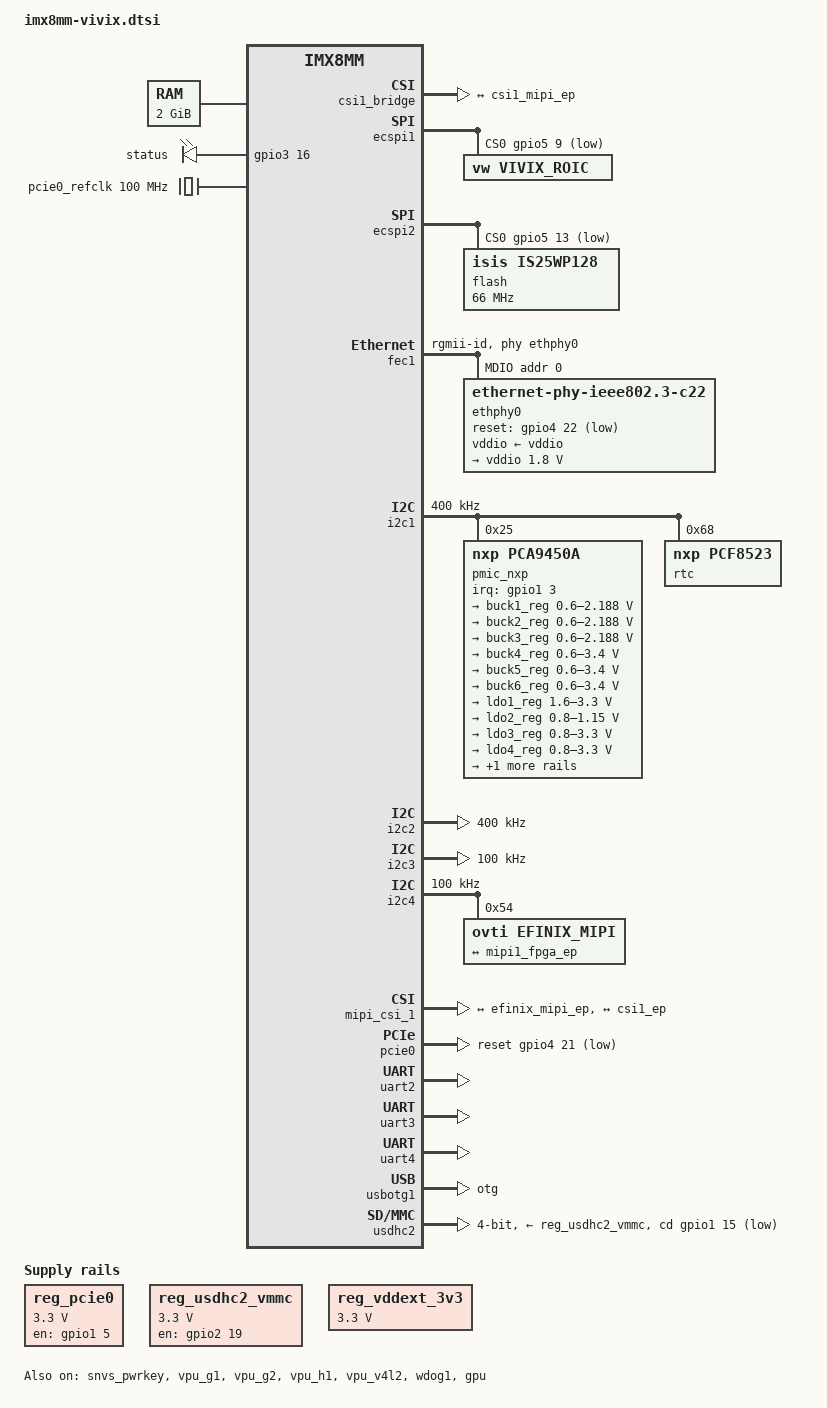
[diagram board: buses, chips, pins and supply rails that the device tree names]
// SPDX-License-Identifier: (GPL-2.0+ OR MIT)
/*
 * Copyright 2020 NXP
 */

/dts-v1/;

#include <dt-bindings/phy/phy-imx8-pcie.h>
#include <dt-bindings/usb/pd.h>
#include "imx8mm.dtsi"

/ {
	chosen {
		stdout-path = &uart2;
		//stdout-path = &uart4;
	};

	memory@40000000 {
		device_type = "memory";
		reg = <0x0 0x40000000 0 0x80000000>;
	};

	leds {
		compatible = "gpio-leds";
		pinctrl-names = "default";
		pinctrl-0 = <&pinctrl_gpio_led>;

		status {
			label = "status";
			gpios = <&gpio3 16 GPIO_ACTIVE_HIGH>;
			default-state = "on";
		};
	};

	pcie0_refclk: pcie0-refclk {
		compatible = "fixed-clock";
		#clock-cells = <0>;
		clock-frequency = <100000000>;
	};
	
	reg_pcie0: regulator-pcie {
		compatible = "regulator-fixed";
		pinctrl-names = "default";
		pinctrl-0 = <&pinctrl_pcie0_reg>;
		regulator-name = "MPCIE_3V3";
		regulator-min-microvolt = <3300000>;
		regulator-max-microvolt = <3300000>;
		gpio = <&gpio1 5 GPIO_ACTIVE_HIGH>;
		enable-active-high;
	};

	reg_usdhc2_vmmc: regulator-usdhc2 {
		compatible = "regulator-fixed";
		pinctrl-names = "default";
		pinctrl-0 = <&pinctrl_reg_usdhc2_vmmc>;
		regulator-name = "VSD_3V3";
		regulator-min-microvolt = <3300000>;
		regulator-max-microvolt = <3300000>;
		gpio = <&gpio2 19 GPIO_ACTIVE_HIGH>;
		off-on-delay-us = <20000>;
		enable-active-high;
	};

	reg_vddext_3v3: regulator-vddext-3v3 {
		compatible = "regulator-fixed";
		regulator-name = "VDDEXT_3V3";
		regulator-min-microvolt = <3300000>;
		regulator-max-microvolt = <3300000>;
	};
};

&A53_0 {
	cpu-supply = <&buck2_reg>;
};

&A53_1 {
	cpu-supply = <&buck2_reg>;
};

&A53_2 {
	cpu-supply = <&buck2_reg>;
};

&A53_3 {
	cpu-supply = <&buck2_reg>;
};

&csi1_bridge {
	fsl,mipi-mode;
	status = "okay";
	port {
		csi1_ep: endpoint {
			remote-endpoint = <&csi1_mipi_ep>;
		};
	};
};

&ecspi1 {
	fsl,spi-num-chipselects = <1>;
    pinctrl-names = "default";
    pinctrl-0 = <&pinctrl_ecspi1>;
    cs-gpios = <&gpio5 9 GPIO_ACTIVE_LOW>;
    status = "okay";

	vivix_roic {
		reg = <0>;
		compatible = "vw,vivix_roic";
	};
};

&ecspi2 {
	#address-cells = <1>;
	#size-cells = <0>;
	fsl,spi-num-chipselects = <1>;
	pinctrl-names = "default";
	pinctrl-0 = <&pinctrl_ecspi2 &pinctrl_ecspi2_cs>;
	cs-gpios = <&gpio5 13 GPIO_ACTIVE_LOW>;
	status = "okay";

	flash@0 {
		#address-cells = <1>;
		#size-cells = <1>;
		compatible = "isis,is25wp128", "jedec,spi-nor";
		reg = <0>;
		spi-max-frequency = <66000000>;
	};
};

&fec1 {
	pinctrl-names = "default";
	pinctrl-0 = <&pinctrl_fec1>;
	phy-mode = "rgmii-id";
	phy-handle = <&ethphy0>;
	fsl,magic-packet;
	status = "okay";

	mdio {
		#address-cells = <1>;
		#size-cells = <0>;

		ethphy0: ethernet-phy@0 {
			compatible = "ethernet-phy-ieee802.3-c22";
			reg = <0>;
			reset-gpios = <&gpio4 22 GPIO_ACTIVE_LOW>;
			reset-assert-us = <10000>;
			reset-deassert-us = <80000>;
			realtek,aldps-enable;
			realtek,clkout-disable;
			qca,disable-smarteee;
			vddio-supply = <&vddio>;

			vddio: vddio-regulator {
				regulator-min-microvolt = <1800000>;
				regulator-max-microvolt = <1800000>;
			};
		};
	};
};

&i2c1 {
	clock-frequency = <400000>;
	pinctrl-names = "default";
	pinctrl-0 = <&pinctrl_i2c1>;
	status = "okay";

	pmic_nxp: pca9450@25 {
		compatible = "nxp,pca9450a";
		reg = <0x25>;
		pinctrl-0 = <&pinctrl_pmic>;
		pinctrl-names = "default";
		interrupt-parent = <&gpio1>;
		interrupts = <3 IRQ_TYPE_LEVEL_LOW>;

		regulators {
			buck1_reg: BUCK1 {
				regulator-name = "BUCK1";
				regulator-min-microvolt = <600000>;
				regulator-max-microvolt = <2187500>;
				regulator-boot-on;
				regulator-always-on;
				regulator-ramp-delay = <3125>;
				nxp,dvs-run-voltage = <850000>;
				nxp,dvs-standby-voltage = <800000>;
			};

			buck2_reg: BUCK2 {
				regulator-name = "BUCK2";
				regulator-min-microvolt = <600000>;
				regulator-max-microvolt = <2187500>;
				regulator-boot-on;
				regulator-always-on;
				regulator-ramp-delay = <3125>;
			};

			buck3_reg: BUCK3 {
				regulator-name = "BUCK3";
				regulator-min-microvolt = <600000>;
				regulator-max-microvolt = <2187500>;
				regulator-boot-on;
				regulator-always-on;
			};

			buck4_reg: BUCK4 {
				regulator-name = "BUCK4";
				regulator-min-microvolt = <600000>;
				regulator-max-microvolt = <3400000>;
				regulator-boot-on;
				regulator-always-on;
			};

			buck5_reg: BUCK5 {
				regulator-name = "BUCK5";
				regulator-min-microvolt = <600000>;
				regulator-max-microvolt = <3400000>;
				regulator-boot-on;
				regulator-always-on;
			};

			buck6_reg: BUCK6 {
				regulator-name = "BUCK6";
				regulator-min-microvolt = <600000>;
				regulator-max-microvolt = <3400000>;
				regulator-boot-on;
				regulator-always-on;
			};

			ldo1_reg: LDO1 {
				regulator-name = "LDO1";
				regulator-min-microvolt = <1600000>;
				regulator-max-microvolt = <3300000>;
				regulator-boot-on;
				regulator-always-on;
			};

			ldo2_reg: LDO2 {
				regulator-name = "LDO2";
				regulator-min-microvolt = <800000>;
				regulator-max-microvolt = <1150000>;
				regulator-boot-on;
				regulator-always-on;
			};

			ldo3_reg: LDO3 {
				regulator-name = "LDO3";
				regulator-min-microvolt = <800000>;
				regulator-max-microvolt = <3300000>;
				regulator-boot-on;
				regulator-always-on;
			};

			ldo4_reg: LDO4 {
				regulator-name = "LDO4";
				regulator-min-microvolt = <800000>;
				regulator-max-microvolt = <3300000>;
				regulator-boot-on;
				regulator-always-on;
			};

			ldo5_reg: LDO5 {
				regulator-name = "LDO5";
				regulator-min-microvolt = <1800000>;
				regulator-max-microvolt = <3300000>;
			};
		};
	};

	rtc: rtc@68 {
		compatible = "nxp,pcf8523";
		reg = <0x68>;
	};
};

&i2c2 {
	clock-frequency = <400000>;
	pinctrl-names = "default";
	pinctrl-0 = <&pinctrl_i2c2>;
	status = "okay";
/*	
	ptn5110: tcpc@50 {
		compatible = "nxp,ptn5110";
		pinctrl-names = "default";
		pinctrl-0 = <&pinctrl_typec1>;
		reg = <0x50>;
		interrupt-parent = <&gpio2>;
		interrupts = <11 8>;
		status = "okay";

		port {
			typec1_dr_sw: endpoint {
				remote-endpoint = <&usb1_drd_sw>;
			};
		};

		typec1_con: connector {
			compatible = "usb-c-connector";
			label = "USB-C";
			power-role = "dual";
			data-role = "dual";
			try-power-role = "sink";
			source-pdos = <PDO_FIXED(5000, 3000, PDO_FIXED_USB_COMM)>;
			sink-pdos = <PDO_FIXED(5000, 3000, PDO_FIXED_USB_COMM)
				     PDO_VAR(5000, 20000, 3000)>;
			op-sink-microwatt = <15000000>;
			self-powered;
		};
	};
	*/
};

&i2c3 {
	clock-frequency = <100000>;
	pinctrl-names = "default";
	pinctrl-0 = <&pinctrl_i2c3>;
	status = "okay";
};

&i2c4 {
	clock-frequency = <100000>;
	pinctrl-names = "default";
	pinctrl-0 = <&pinctrl_i2c4>;
	status = "okay";

	efinix_mipi: efinix_mipi@54 {
				 compatible = "ovti,efinix_mipi";
				 reg = <0x54>;
				 status = "okay";
				 port {
					efinix_mipi_ep: endpoint {
					remote-endpoint = <&mipi1_fpga_ep>;
				};
				 };
			 };
};

&mipi_csi_1 {
	status = "okay";
	clock-frequency = <1200000000>;
	port {
		#address-cells = <1>;
		#size-cells = <0>;

		mipi1_fpga_ep: endpoint@1 {
			remote-endpoint = <&efinix_mipi_ep>;
			data-lanes = <4>;
			csis-hs-settle = <26>;
			csis-clk-settle = <2>;
			csis-wclk;
		};
		
		csi1_mipi_ep: endpoint@2 {
			reg = <2>;
			remote-endpoint = <&csi1_ep>;
		};
	};
};

&pcie0{
	pinctrl-names = "default";
	pinctrl-0 = <&pinctrl_pcie0>;
	reset-gpio = <&gpio4 21 GPIO_ACTIVE_LOW>;
	clocks = <&clk IMX8MM_CLK_PCIE1_ROOT>, <&pcie0_refclk>,
		   <&clk IMX8MM_CLK_PCIE1_AUX>;
	assigned-clocks = <&clk IMX8MM_CLK_PCIE1_AUX>,
		<&clk IMX8MM_CLK_PCIE1_CTRL>;
	assigned-clock-rates = <10000000>, <250000000>;
	assigned-clock-parents = <&clk IMX8MM_SYS_PLL2_50M>,
		<&clk IMX8MM_SYS_PLL2_250M>;
	vpcie-supply = <&reg_pcie0>;
	status = "okay";
};

&snvs_pwrkey {
	status = "okay";
};

&uart2 { /* console */
	pinctrl-names = "default";
	pinctrl-0 = <&pinctrl_uart2>;
	status = "okay";
};

&uart3 {
    pinctrl-names = "default";
    pinctrl-0 = <&pinctrl_uart3>;
    status = "okay";
};

&uart4 { 
	pinctrl-names = "default";
	pinctrl-0 = <&pinctrl_uart4>;
	status = "okay";
};

&usbphynop1 {
	wakeup-source;
};

&usbotg1 {
	dr_mode = "otg";
	hnp-disable;
	srp-disable;
	adp-disable;
	usb-role-switch;
	disable-over-current;
	samsung,picophy-pre-emp-curr-control = <3>;
	samsung,picophy-dc-vol-level-adjust = <7>;
	status = "okay";
/*
	port {
		usb1_drd_sw: endpoint {
			remote-endpoint = <&typec1_dr_sw>;
		};
	};
	*/
};

&usdhc2 {
	assigned-clocks = <&clk IMX8MM_CLK_USDHC2>;
	assigned-clock-rates = <200000000>;
	pinctrl-names = "default", "state_100mhz", "state_200mhz";
	pinctrl-0 = <&pinctrl_usdhc2>, <&pinctrl_usdhc2_gpio>;
	pinctrl-1 = <&pinctrl_usdhc2_100mhz>, <&pinctrl_usdhc2_gpio>;
	pinctrl-2 = <&pinctrl_usdhc2_200mhz>, <&pinctrl_usdhc2_gpio>;
	cd-gpios = <&gpio1 15 GPIO_ACTIVE_LOW>;
	bus-width = <4>;
	vmmc-supply = <&reg_usdhc2_vmmc>;
	status = "okay";
};

&vpu_g1 {
	status = "okay";
};

&vpu_g2 {
	status = "okay";
};

&vpu_h1 {
	status = "okay";
};

&vpu_v4l2 {
	status = "okay";
};

&wdog1 {
	pinctrl-names = "default";
	pinctrl-0 = <&pinctrl_wdog>;
	fsl,ext-reset-output;
	status = "okay";
};

&gpu {
	status = "okay";
};

&iomuxc {
	pinctrl-names = "default";
    pinctrl-0 = <&pinctrl_gpio_vol>;

	pinctrl_csi_pwn: csi_pwn_grp {
		fsl,pins = <
			MX8MM_IOMUXC_GPIO1_IO07_GPIO1_IO7		0x19
		>;
	};

	pinctrl_csi_rst: csi_rst_grp {
		fsl,pins = <
			MX8MM_IOMUXC_GPIO1_IO06_GPIO1_IO6		0x19
			MX8MM_IOMUXC_GPIO1_IO14_CCMSRCGPCMIX_CLKO1	0x59
		>;
	};
	
	pinctrl_ecspi1: ecspi1grp {
		fsl,pins = <
			MX8MM_IOMUXC_ECSPI1_SCLK_ECSPI1_SCLK		0x82
			MX8MM_IOMUXC_ECSPI1_MOSI_ECSPI1_MOSI		0x82
			MX8MM_IOMUXC_ECSPI1_MISO_ECSPI1_MISO		0x82
			MX8MM_IOMUXC_ECSPI1_SS0_GPIO5_IO9			0x40
		>;
	};

	pinctrl_ecspi2: ecspi2grp {
		fsl,pins = <
			MX8MM_IOMUXC_ECSPI2_SCLK_ECSPI2_SCLK		0x82
			MX8MM_IOMUXC_ECSPI2_MOSI_ECSPI2_MOSI		0x82
			MX8MM_IOMUXC_ECSPI2_MISO_ECSPI2_MISO		0x82
		>;
	};

	pinctrl_ecspi2_cs: ecspi2cs {
		fsl,pins = <
			MX8MM_IOMUXC_ECSPI2_SS0_GPIO5_IO13		0x40000
		>;
	};
	
	pinctrl_fec1: fec1grp {
		fsl,pins = <
			MX8MM_IOMUXC_ENET_MDC_ENET1_MDC			0x3
			MX8MM_IOMUXC_ENET_MDIO_ENET1_MDIO		0x3
			MX8MM_IOMUXC_ENET_TD3_ENET1_RGMII_TD3		0x1f
			MX8MM_IOMUXC_ENET_TD2_ENET1_RGMII_TD2		0x1f
			MX8MM_IOMUXC_ENET_TD1_ENET1_RGMII_TD1		0x1f
			MX8MM_IOMUXC_ENET_TD0_ENET1_RGMII_TD0		0x1f
			MX8MM_IOMUXC_ENET_RD3_ENET1_RGMII_RD3		0x91
			MX8MM_IOMUXC_ENET_RD2_ENET1_RGMII_RD2		0x91
			MX8MM_IOMUXC_ENET_RD1_ENET1_RGMII_RD1		0x91
			MX8MM_IOMUXC_ENET_RD0_ENET1_RGMII_RD0		0x91
			MX8MM_IOMUXC_ENET_TXC_ENET1_RGMII_TXC		0x1f
			MX8MM_IOMUXC_ENET_RXC_ENET1_RGMII_RXC		0x91
			MX8MM_IOMUXC_ENET_RX_CTL_ENET1_RGMII_RX_CTL	0x91
			MX8MM_IOMUXC_ENET_TX_CTL_ENET1_RGMII_TX_CTL	0x1f
			MX8MM_IOMUXC_SAI2_RXC_GPIO4_IO22		0x19
		>;
	};

	pinctrl_gpio_led: gpioledgrp {
		fsl,pins = <
			MX8MM_IOMUXC_NAND_READY_B_GPIO3_IO16	0x19
		>;
	};

	pinctrl_i2c1: i2c1grp {
		fsl,pins = <
			/*
			MX8MM_IOMUXC_I2C1_SCL_I2C1_SCL			0x400001c3
			MX8MM_IOMUXC_I2C1_SDA_I2C1_SDA			0x400001c3
			*/
			MX8MM_IOMUXC_I2C1_SCL_I2C1_SCL			0x400000c3
			MX8MM_IOMUXC_I2C1_SDA_I2C1_SDA			0x400000c3
		>;
	};

	pinctrl_i2c2: i2c2grp {
		fsl,pins = <
			/*
			MX8MM_IOMUXC_I2C2_SCL_I2C2_SCL			0x400001c3
			MX8MM_IOMUXC_I2C2_SDA_I2C2_SDA			0x400001c3
			*/
			MX8MM_IOMUXC_I2C2_SCL_I2C2_SCL			0x400000c3
			MX8MM_IOMUXC_I2C2_SDA_I2C2_SDA			0x400000c3
		>;
	};
	
	pinctrl_i2c3: i2c3grp {
		fsl,pins = <
			MX8MM_IOMUXC_I2C3_SCL_I2C3_SCL			0x400000c3
			MX8MM_IOMUXC_I2C3_SDA_I2C3_SDA			0x400000c3
		>;
	};
	
	pinctrl_i2c4: i2c4grp {
		fsl,pins = <
			MX8MM_IOMUXC_I2C4_SCL_I2C4_SCL			0x400000c3
			MX8MM_IOMUXC_I2C4_SDA_I2C4_SDA			0x400000c3
		>;
	};
	
	pinctrl_pcie0: pcie0grp {
		fsl,pins = <
			MX8MM_IOMUXC_SAI2_RXD0_GPIO4_IO23		0x41
			MX8MM_IOMUXC_SAI2_RXFS_GPIO4_IO21		0x41
		>;
	};

	pinctrl_pcie0_reg: pcie0reggrp {
		fsl,pins = <
			MX8MM_IOMUXC_GPIO1_IO05_GPIO1_IO5       0x41
		>;
	};

	pinctrl_pmic: pmicirqgrp {
		fsl,pins = <
			MX8MM_IOMUXC_GPIO1_IO03_GPIO1_IO3		0x141
		>;
	};

	pinctrl_reg_usdhc2_vmmc: regusdhc2vmmcgrp {
		fsl,pins = <
			MX8MM_IOMUXC_SD2_RESET_B_GPIO2_IO19	0x41
		>;
	};

	pinctrl_typec1: typec1grp {
		fsl,pins = <
			MX8MM_IOMUXC_SD1_STROBE_GPIO2_IO11	0x159
		>;
	};

	pinctrl_uart2: uart2grp {
		fsl,pins = <
			MX8MM_IOMUXC_UART2_RXD_UART2_DCE_RX	0x140
			MX8MM_IOMUXC_UART2_TXD_UART2_DCE_TX	0x140
		>;
	};

	pinctrl_uart3: uart3grp {
        fsl,pins = <
			MX8MM_IOMUXC_UART3_RXD_UART3_DCE_RX 0x140
			MX8MM_IOMUXC_UART3_TXD_UART3_DCE_TX 0x140
        >;
    };
	
	pinctrl_uart4: uart4grp {
		fsl,pins = <
			MX8MM_IOMUXC_UART4_RXD_UART4_DCE_RX	0x140
			MX8MM_IOMUXC_UART4_TXD_UART4_DCE_TX	0x140
		>;
	};

	pinctrl_usdhc2_gpio: usdhc2grpgpiogrp {
		fsl,pins = <
			MX8MM_IOMUXC_GPIO1_IO15_GPIO1_IO15	0x1c4
		>;
	};

	pinctrl_usdhc2: usdhc2grp {
		fsl,pins = <
			MX8MM_IOMUXC_SD2_CLK_USDHC2_CLK		0x190
			MX8MM_IOMUXC_SD2_CMD_USDHC2_CMD		0x1d0
			MX8MM_IOMUXC_SD2_DATA0_USDHC2_DATA0	0x1d0
			MX8MM_IOMUXC_SD2_DATA1_USDHC2_DATA1	0x1d0
			MX8MM_IOMUXC_SD2_DATA2_USDHC2_DATA2	0x1d0
			MX8MM_IOMUXC_SD2_DATA3_USDHC2_DATA3	0x1d0
			MX8MM_IOMUXC_GPIO1_IO04_USDHC2_VSELECT	0x1d0
		>;
	};

	pinctrl_usdhc2_100mhz: usdhc2-100mhzgrp {
		fsl,pins = <
			MX8MM_IOMUXC_SD2_CLK_USDHC2_CLK		0x194
			MX8MM_IOMUXC_SD2_CMD_USDHC2_CMD		0x1d4
			MX8MM_IOMUXC_SD2_DATA0_USDHC2_DATA0	0x1d4
			MX8MM_IOMUXC_SD2_DATA1_USDHC2_DATA1	0x1d4
			MX8MM_IOMUXC_SD2_DATA2_USDHC2_DATA2	0x1d4
			MX8MM_IOMUXC_SD2_DATA3_USDHC2_DATA3	0x1d4
			MX8MM_IOMUXC_GPIO1_IO04_USDHC2_VSELECT	0x1d0
		>;
	};

	pinctrl_usdhc2_200mhz: usdhc2-200mhzgrp {
		fsl,pins = <
			MX8MM_IOMUXC_SD2_CLK_USDHC2_CLK		0x196
			MX8MM_IOMUXC_SD2_CMD_USDHC2_CMD		0x1d6
			MX8MM_IOMUXC_SD2_DATA0_USDHC2_DATA0	0x1d6
			MX8MM_IOMUXC_SD2_DATA1_USDHC2_DATA1	0x1d6
			MX8MM_IOMUXC_SD2_DATA2_USDHC2_DATA2	0x1d6
			MX8MM_IOMUXC_SD2_DATA3_USDHC2_DATA3	0x1d6
			MX8MM_IOMUXC_GPIO1_IO04_USDHC2_VSELECT	0x1d0
		>;
	};

	pinctrl_wdog: wdoggrp {
		fsl,pins = <
			MX8MM_IOMUXC_GPIO1_IO02_WDOG1_WDOG_B	0x166
		>;
	};
	
	pinctrl_gpio_vol: gpiovolgrp {
		fsl,pins = <
			MX8MM_IOMUXC_SAI1_RXC_GPIO4_IO1			0x66
			MX8MM_IOMUXC_SAI1_MCLK_GPIO4_IO20		0X66
			MX8MM_IOMUXC_SAI1_TXFS_GPIO4_IO10		0X66
			MX8MM_IOMUXC_SAI1_TXC_GPIO4_IO11		0X66
			MX8MM_IOMUXC_SAI1_RXFS_GPIO4_IO0		0X66

			MX8MM_IOMUXC_SAI2_TXFS_GPIO4_IO24		0x66
			MX8MM_IOMUXC_SAI2_TXC_GPIO4_IO25		0x66

			MX8MM_IOMUXC_SAI3_MCLK_GPIO5_IO2		0x66

			MX8MM_IOMUXC_SAI5_MCLK_GPIO3_IO25		0x66
			MX8MM_IOMUXC_SAI5_RXFS_GPIO3_IO19		0x66
			MX8MM_IOMUXC_SAI5_RXC_GPIO3_IO20		0x66
			MX8MM_IOMUXC_SAI5_RXD0_GPIO3_IO21		0x66
			MX8MM_IOMUXC_SAI5_RXD1_GPIO3_IO22		0x66
			MX8MM_IOMUXC_SAI5_RXD2_GPIO3_IO23		0x66
			MX8MM_IOMUXC_SAI5_RXD3_GPIO3_IO24		0x66

			MX8MM_IOMUXC_UART1_RXD_GPIO5_IO22		0x66
			/*
			MX8MM_IOMUXC_UART2_RXD_GPIO5_IO24		0x66
			MX8MM_IOMUXC_UART2_TXD_GPIO5_IO25		0x66
			*/
		>;
	};
};
